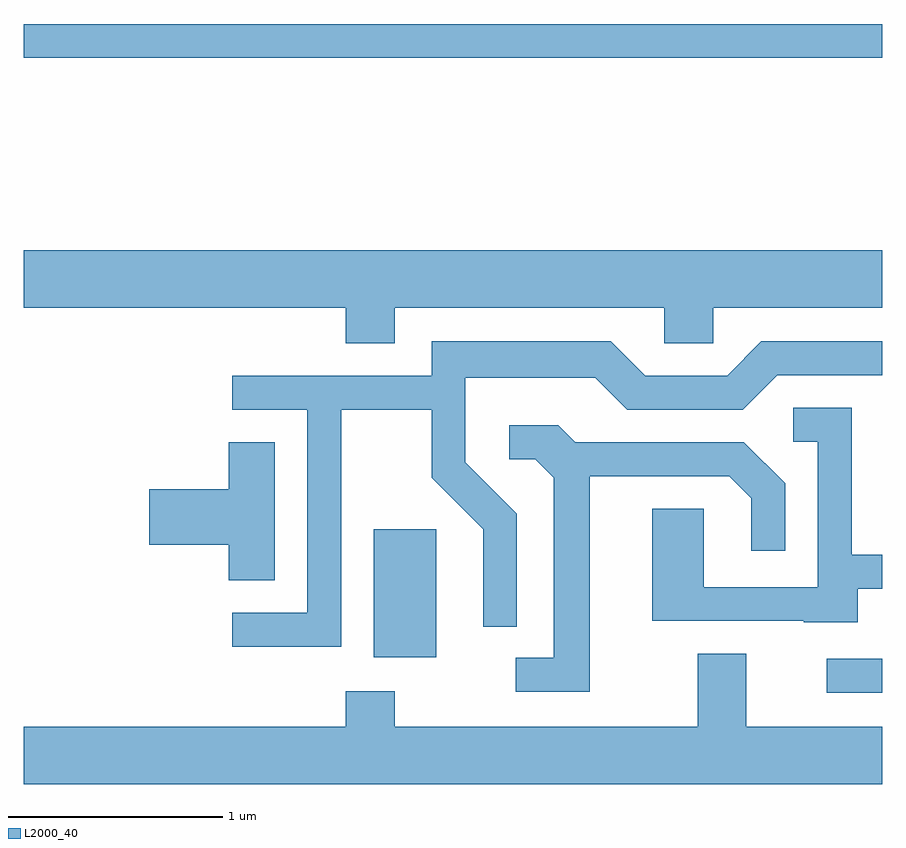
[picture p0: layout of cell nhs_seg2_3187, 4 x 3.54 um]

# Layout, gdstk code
import gdstk
lib = gdstk.Library(unit=1e-6, precision=1e-09)
def R(c, l, rs):  # rectangles x0, y0, x1, y1
    for r in rs: c.add(gdstk.rectangle(r[:2], r[2:], *l))
def P(c, l, *ps):  # polygons
    for p in ps: c.add(gdstk.Polygon(p, *l))
L2000_40 = (2000, 40)

nhs_seg2_3187 = lib.new_cell('nhs_seg2_3187')
R(nhs_seg2_3187, L2000_40, [(281.353,1108.681,281.611,1108.839), (279.241,1108.846,279.534,1109.444), (277.611,1111.641,281.611,1111.799)])
P(nhs_seg2_3187, L2000_40, [(279.339,1110.476),(280.596,1110.476),(280.596,1110.311),(280.824,1110.311),(280.824,1110.476),(281.611,1110.476),(281.611,1110.744),(277.611,1110.744),(277.611,1110.476),(279.111,1110.476),(279.111,1110.311),(279.339,1110.311)],
  [(279.089,1110.001),(279.511,1110.001),(279.511,1109.684),(279.751,1109.444),(279.751,1108.988),(279.909,1108.988),(279.909,1109.517),(279.669,1109.757),(279.669,1110.151),(280.274,1110.151),(280.424,1110.001),(280.962,1110.001),(281.122,1110.161),(281.611,1110.161),(281.611,1110.319),(281.049,1110.319),(280.889,1110.159),(280.507,1110.159),(280.347,1110.319),(279.511,1110.319),(279.511,1110.159),(278.583,1110.159),(278.583,1110.001),(278.931,1110.001),(278.931,1109.054),(278.583,1109.054),(278.583,1108.896),(279.089,1108.896)],
  [(281.499,1109.166),(281.611,1109.166),(281.611,1109.324),(281.469,1109.324),(281.469,1110.009),(281.198,1110.009),(281.198,1109.851),(281.311,1109.851),(281.311,1109.174),(280.779,1109.174),(280.779,1109.539),(280.541,1109.539),(280.541,1109.016),(281.245,1109.016),(281.245,1109.011),(281.499,1109.011)],
  [(280.249,1109.691),(280.899,1109.691),(281.001,1109.589),(281.001,1109.343),(281.159,1109.343),(281.159,1109.657),(280.967,1109.849),(280.182,1109.849),(280.102,1109.929),(279.873,1109.929),(279.873,1109.771),(279.994,1109.771),(280.081,1109.684),(280.081,1108.844),(279.903,1108.844),(279.903,1108.686),(280.249,1108.686)],
  [(278.779,1109.849),(278.566,1109.849),(278.566,1109.629),(278.196,1109.629),(278.196,1109.371),(278.566,1109.371),(278.566,1109.206),(278.779,1109.206)],
  [(281.611,1108.524),(280.979,1108.524),(280.979,1108.864),(280.751,1108.864),(280.751,1108.524),(279.339,1108.524),(279.339,1108.689),(279.111,1108.689),(279.111,1108.524),(277.611,1108.524),(277.611,1108.256),(281.611,1108.256)])

lib.write_gds('nhs_seg2_3187.gds')
